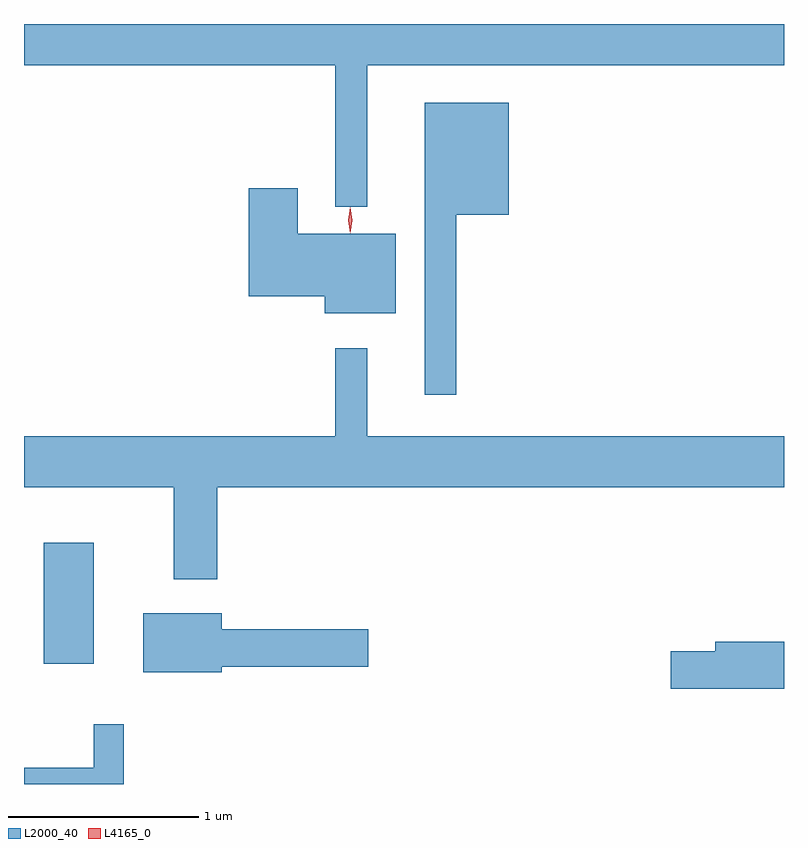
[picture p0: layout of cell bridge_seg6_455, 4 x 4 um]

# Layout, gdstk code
import gdstk
lib = gdstk.Library(unit=1e-6, precision=1e-09)
def R(c, l, rs):  # rectangles x0, y0, x1, y1
    for r in rs: c.add(gdstk.rectangle(r[:2], r[2:], *l))
def P(c, l, *ps):  # polygons
    for p in ps: c.add(gdstk.Polygon(p, *l))
L2000_40 = (2000, 40)
L4165_0 = (4165, 0)

bridge_seg6_455 = lib.new_cell('bridge_seg6_455')
R(bridge_seg6_455, L2000_40, [(664.106,1573.526,664.369,1574.164)])
P(bridge_seg6_455, L2000_40, [(665.809,1576.676),(668.003,1576.676),(668.003,1576.894),(664.003,1576.894),(664.003,1576.676),(665.641,1576.676),(665.641,1575.933),(665.809,1575.933)],
  [(666.279,1575.891),(666.554,1575.891),(666.554,1576.479),(666.111,1576.479),(666.111,1574.943),(666.279,1574.943)],
  [(665.959,1575.789),(665.444,1575.789),(665.444,1576.029),(665.186,1576.029),(665.186,1575.461),(665.586,1575.461),(665.586,1575.371),(665.959,1575.371)],
  [(665.019,1574.456),(668.003,1574.456),(668.003,1574.724),(665.809,1574.724),(665.809,1575.188),(665.641,1575.188),(665.641,1574.724),(664.003,1574.724),(664.003,1574.456),(664.791,1574.456),(664.791,1573.971),(665.019,1573.971)],
  [(665.044,1573.511),(665.814,1573.511),(665.814,1573.709),(665.044,1573.709),(665.044,1573.794),(664.631,1573.794),(664.631,1573.481),(665.044,1573.481)],
  [(668.003,1573.644),(667.641,1573.644),(667.641,1573.594),(667.406,1573.594),(667.406,1573.396),(668.003,1573.396)],
  [(664.529,1573.208),(664.371,1573.208),(664.371,1572.979),(664.003,1572.979),(664.003,1572.894),(664.529,1572.894)])
P(bridge_seg6_455, L4165_0, [(665.719,1575.794),(665.71,1575.862),(665.719,1575.93),(665.72,1575.93),(665.72,1575.93),(665.73,1575.862),(665.72,1575.794),(665.72,1575.794)])

lib.write_gds('bridge_seg6_455.gds')
